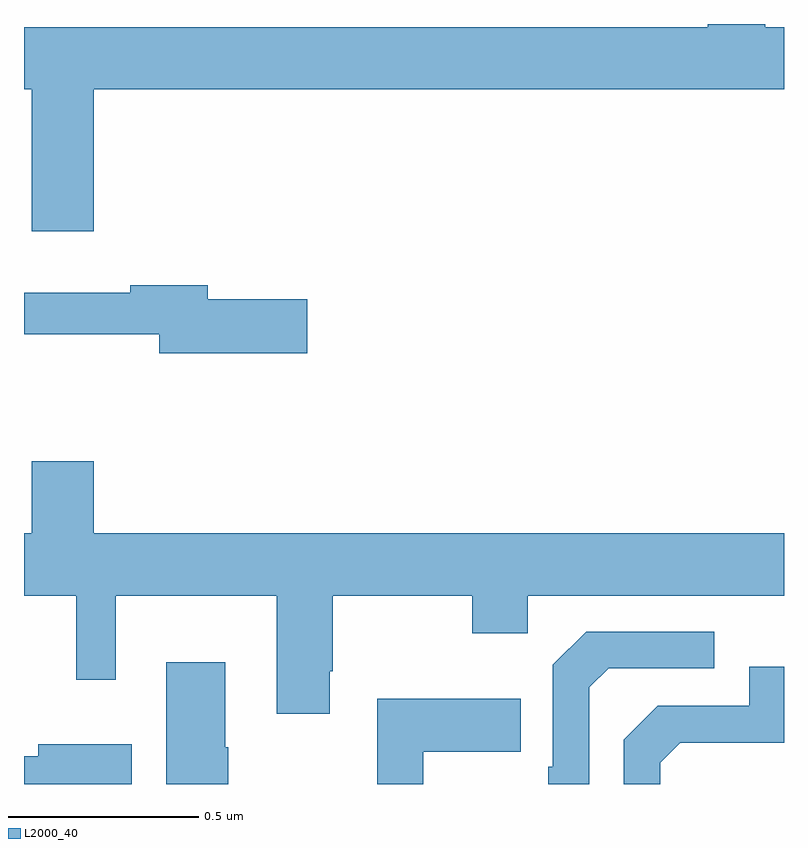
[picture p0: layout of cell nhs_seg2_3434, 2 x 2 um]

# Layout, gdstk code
import gdstk
lib = gdstk.Library(unit=1e-6, precision=1e-09)
def P(c, l, *ps):  # polygons
    for p in ps: c.add(gdstk.Polygon(p, *l))
L2000_40 = (2000, 40)

nhs_seg2_3434 = lib.new_cell('nhs_seg2_3434')
P(nhs_seg2_3434, L2000_40, [(153.184,655.628),(155,655.628),(155,655.792),(154.951,655.792),(154.951,655.8),(154.799,655.8),(154.799,655.792),(153,655.792),(153,655.628),(153.02,655.628),(153.02,655.254),(153.184,655.254)],
  [(153.745,655.076),(153.484,655.076),(153.484,655.112),(153.28,655.112),(153.28,655.093),(153,655.093),(153,654.984),(153.356,654.984),(153.356,654.934),(153.745,654.934)],
  [(153.805,654.097),(153.813,654.097),(153.813,654.296),(154.18,654.296),(154.18,654.197),(154.326,654.197),(154.326,654.296),(155,654.296),(155,654.46),(153.184,654.46),(153.184,654.649),(153.02,654.649),(153.02,654.46),(153,654.46),(153,654.296),(153.137,654.296),(153.137,654.075),(153.241,654.075),(153.241,654.296),(153.665,654.296),(153.665,653.985),(153.805,653.985)],
  [(154.488,654.054),(154.539,654.105),(154.816,654.105),(154.816,654.201),(154.479,654.201),(154.392,654.114),(154.392,653.845),(154.38,653.845),(154.38,653.8),(154.488,653.8)],
  [(153.537,653.897),(153.529,653.897),(153.529,654.121),(153.374,654.121),(153.374,653.8),(153.537,653.8)],
  [(154.674,653.856),(154.727,653.909),(155,653.909),(155,654.108),(154.908,654.108),(154.908,654.006),(154.668,654.006),(154.578,653.916),(154.578,653.8),(154.674,653.8)],
  [(154.051,653.885),(154.307,653.885),(154.307,654.025),(153.93,654.025),(153.93,653.8),(154.051,653.8)],
  [(153.283,653.905),(153.038,653.905),(153.038,653.873),(153,653.873),(153,653.8),(153.283,653.8)])

lib.write_gds('nhs_seg2_3434.gds')
